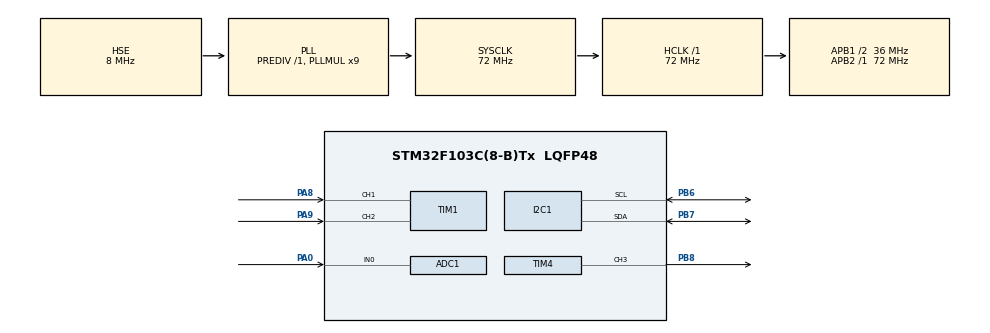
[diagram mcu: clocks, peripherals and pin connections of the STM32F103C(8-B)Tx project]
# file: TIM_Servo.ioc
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ADC1.Channel-0\#ChannelRegularConversion=ADC_CHANNEL_0
ADC1.NbrOfConversionFlag=1
ADC1.Rank-0\#ChannelRegularConversion=1
ADC1.SamplingTime-0\#ChannelRegularConversion=ADC_SAMPLETIME_1CYCLE_5
ADC1.master=1
Mcu.Family=STM32F1
Mcu.Name=STM32F103C(8-B)Tx
Mcu.Package=LQFP48
NVIC.PriorityGroup=NVIC_PRIORITYGROUP_4
PA0-WKUP.Signal=ADCx_IN0
PA13.Mode=Serial_Wire
PA13.Signal=SYS_JTMS-SWDIO
PA14.Mode=Serial_Wire
PA14.Signal=SYS_JTCK-SWCLK
PA8.Signal=S_TIM1_CH1
PA9.Signal=S_TIM1_CH2
PB6.Mode=I2C
PB6.Signal=I2C1_SCL
PB7.Mode=I2C
PB7.Signal=I2C1_SDA
PB8.Signal=S_TIM4_CH3
PD0-OSC_IN.Mode=HSE-External-Oscillator
PD0-OSC_IN.Signal=RCC_OSC_IN
PD1-OSC_OUT.Mode=HSE-External-Oscillator
PD1-OSC_OUT.Signal=RCC_OSC_OUT
ProjectManager.HeapSize=0x200
ProjectManager.StackSize=0x400
ProjectManager.TargetToolchain=CMake
RCC.ADCPresc=RCC_ADCPCLK2_DIV6
RCC.AHBFreq_Value=72000000
RCC.APB1CLKDivider=RCC_HCLK_DIV2
RCC.APB1Freq_Value=36000000
RCC.APB1TimFreq_Value=72000000
RCC.APB2Freq_Value=72000000
RCC.APB2TimFreq_Value=72000000
RCC.HCLKFreq_Value=72000000
RCC.PLLMUL=RCC_PLL_MUL9
RCC.PLLSourceVirtual=RCC_PLLSOURCE_HSE
RCC.SYSCLKFreq_VALUE=72000000
RCC.SYSCLKSource=RCC_SYSCLKSOURCE_PLLCLK
RCC.USBFreq_Value=72000000
SH.ADCx_IN0.0=ADC1_IN0,IN0
SH.S_TIM1_CH1.0=TIM1_CH1,Encoder_Interface
SH.S_TIM1_CH2.0=TIM1_CH2,Encoder_Interface
SH.S_TIM4_CH3.0=TIM4_CH3,PWM Generation3 CH3
TIM4.Channel-PWM\ Generation3\ CH3=TIM_CHANNEL_3
TIM4.Period=2000-1
TIM4.Prescaler=720-1
VP_TIM4_VS_ClockSourceINT.Mode=Internal
board=custom

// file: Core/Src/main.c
/* USER CODE BEGIN Header */
/**
  ******************************************************************************
  * @file           : main.c
  * @brief          : Main program body
  ******************************************************************************
  * @attention
  *
  * Copyright (c) 2026 STMicroelectronics.
  * All rights reserved.
  *
  * This software is licensed under terms that can be found in the LICENSE file
  * in the root directory of this software component.
  * If no LICENSE file comes with this software, it is provided AS-IS.
  *
  ******************************************************************************
  */
/* USER CODE END Header */
#include "main.h"
#include "adc.h"
#include "i2c.h"
#include "tim.h"
#include "gpio.h"

/* USER CODE BEGIN Includes */
#include <stdio.h>
#include "oled.h"
#include "font.h"
/* USER CODE END Includes */

/* USER CODE BEGIN PD */
/* ---------------------------------------------------------------
 * TIM4: 72MHz / 720 = 100kHz，一个计数 = 10us
 *       Period = 2000-1 → 2000 x 10us = 20ms = 50Hz（舵机的标准周期）
 *
 * 脉宽与角度（以 SG90 为例，标称 1.0ms = 0 度，2.0ms = 180 度）：
 *       CCR = 100 → 1.0ms →   0 度
 *       CCR = 150 → 1.5ms →  90 度（中位）
 *       CCR = 200 → 2.0ms → 180 度
 * 先用这个安全范围测试。如果发现转不到头，再把 MIN/MAX 放宽到
 * 50/250（0.5ms / 2.5ms）——但别一上来就用 0.5~2.5ms，
 * 很多舵机会顶到机械限位堵转、发热甚至烧掉。
 * --------------------------------------------------------------- */
#define SERVO_MIN_CCR      100U   /* 对应   0 度 / 1.0ms */
#define SERVO_MAX_CCR      200U   /* 对应 180 度 / 2.0ms */

/* ---------- 电位器 -> 舵机 ---------- */
#define ADC_AVG_N          8U     /* 每次读 8 次 ADC 取平均，压掉抖动 */
#define CTRL_PERIOD_MS     20U    /* 每 20ms 采一次、更新一次 CCR */
#define UI_PERIOD_MS       150U   /* 屏幕 150ms 刷一次：整屏 I2C 传输约 95ms */
#define DEADBAND_PCT       1U     /* 变化小于 1% 就不动，避免舵机原地嗡嗡抖 */
/* USER CODE END PD */

/* USER CODE BEGIN PV */
static uint8_t  last_pct     = 50U;    /* 上次的旋钮百分比，初值取中位 */
static uint16_t last_ccr     = 0U;     /* 当前输出的 CCR */
static uint32_t ctrl_tick    = 0U;     /* 上次采样的时刻 */
static uint32_t ui_last_tick = 0U;     /* 上次刷屏的时刻 */
/* USER CODE END PV */

void SystemClock_Config(void);

/* USER CODE BEGIN 0 */

/**
 * @brief  连续读 ADC_AVG_N 次取平均
 * @note   单次读数有 ±2~3 个字的抖动，直接拿去算角度，舵机会在原地小幅抽动。
 */
static uint16_t adc_read_avg(void)
{
  uint32_t sum = 0U;
  uint8_t  i;

  for (i = 0U; i < ADC_AVG_N; i++)
  {
    HAL_ADC_Start(&hadc1);
    if (HAL_ADC_PollForConversion(&hadc1, 10U) == HAL_OK)
    {
      sum += HAL_ADC_GetValue(&hadc1);
    }
    HAL_ADC_Stop(&hadc1);
  }

  return (uint16_t)(sum / ADC_AVG_N);
}

/**
 * @brief  原始值 0~4095 换算成百分比 0~100
 */
static uint8_t adc_to_pct(uint16_t raw)
{
  uint32_t pct = (uint32_t)raw * 100U / 4095U;

  if (pct > 100U)
  {
    pct = 100U;
  }
  return (uint8_t)pct;
}

/**
 * @brief  百分比 0~100 换算成 CCR 100~200（即 1.0ms ~ 2.0ms）
 * @note   CCR 差正好 100，所以 CCR = 100 + pct，不用做除法
 */
static uint16_t pct_to_ccr(uint8_t pct)
{
  return (uint16_t)(SERVO_MIN_CCR +
                    ((uint16_t)pct * (SERVO_MAX_CCR - SERVO_MIN_CCR)) / 100U);
}

/**
 * @brief  百分比 0~100 换算成角度 0~180
 */
static uint16_t pct_to_deg(uint8_t pct)
{
  return (uint16_t)(((uint16_t)pct * 180U) / 100U);
}

/**
 * @brief  画一屏：标题 / 大号角度 / 进度条 / ADC 与 CCR
 */
static void ui_draw(uint16_t deg, uint8_t pct, uint16_t ccr, uint16_t raw)
{
  char    buf[20];
  uint8_t bar_w;

  OLED_NewFrame();

  /* 第 1 行：标题（12x6 字体） */
  OLED_PrintASCIIString(0, 0, "KNOB -> SERVO", &afont12x6, OLED_COLOR_NORMAL);

  /* 第 2 行：大号角度（24x12 字体，一个字符 12 像素宽），右边补单位 */
  sprintf(buf, "%3u", (unsigned)deg);
  OLED_PrintASCIIString(2, 13, buf, &afont24x12, OLED_COLOR_NORMAL);
  OLED_PrintASCIIString(44, 20, "deg", &afont12x6, OLED_COLOR_NORMAL);

  /* 第 3 行：进度条，外框 126x10，内部按旋钮百分比填充 */
  OLED_DrawRectangle(0, 39, 126, 10, OLED_COLOR_NORMAL);
  bar_w = (uint8_t)((uint16_t)pct * 122U / 100U);
  if (bar_w > 0U)
  {
    OLED_DrawFilledRectangle(2, 41, bar_w, 6, OLED_COLOR_NORMAL);
  }

  /* 第 4 行：ADC 原始值 + 当前 CCR（8x6 字体） */
  sprintf(buf, "ADC%4u PWM%3u", (unsigned)raw, (unsigned)ccr);
  OLED_PrintASCIIString(0, 53, buf, &afont8x6, OLED_COLOR_NORMAL);

  OLED_ShowFrame();
}

/**
 * @brief  一次完整的「采样 -> 换算 -> 驱动舵机 -> 刷新屏幕」
 * @note   屏幕 150ms 才刷一次：整屏 1024 字节走 100kHz I2C 约 95ms，
 *         如果每 20ms 都刷，主循环会被 I2C 完全堵住，舵机就卡成一段一段的。
 */
static void control_task(void)
{
  uint16_t raw = adc_read_avg();
  uint8_t  pct = adc_to_pct(raw);
  uint8_t  diff;

  /* 旋钮几乎没动（差值 < DEADBAND_PCT）就不改 CCR，
     否则 ADC 的最后一位在抖，舵机会一直听到新脉宽、原地嗡嗡响 */
  diff = (pct > last_pct) ? (uint8_t)(pct - last_pct)
                          : (uint8_t)(last_pct - pct);

  if (diff >= DEADBAND_PCT)
  {
    last_pct = pct;
    last_ccr = pct_to_ccr(pct);
    __HAL_TIM_SET_COMPARE(&htim4, TIM_CHANNEL_3, last_ccr);
  }

  if ((HAL_GetTick() - ui_last_tick) >= UI_PERIOD_MS)
  {
    ui_last_tick = HAL_GetTick();
    ui_draw(pct_to_deg(last_pct), last_pct, last_ccr, raw);
  }
}

/* USER CODE END 0 */

int main(void)
{

  /* MCU Configuration--------------------------------------------------------*/

  /* Reset of all peripherals, Initializes the Flash interface and the Systick. */
  HAL_Init();

  /* Configure the system clock */
  SystemClock_Config();

  /* Initialize all configured peripherals */
  MX_GPIO_Init();
  MX_ADC1_Init();
  MX_I2C1_Init();
  MX_TIM1_Init();
  MX_TIM4_Init();
  /* USER CODE BEGIN 2 */
  /* OLED 上电比 MCU 慢，先等 20ms 再初始化，否则第一批指令会丢 */
  HAL_Delay(20);
  OLED_Init();

  /* 先把 CCR 设到中位（90 度）再启动 PWM，
     否则会先输出一个 CCR=0 的"无脉冲"，某些舵机会抖一下 */
  last_ccr = pct_to_ccr(last_pct);
  __HAL_TIM_SET_COMPARE(&htim4, TIM_CHANNEL_3, last_ccr);
  HAL_TIM_PWM_Start(&htim4, TIM_CHANNEL_3);

  /* 把"上次刷屏时刻"设成刚好过期，让第一帧立刻画出来（无符号减法会自动回绕） */
  ui_last_tick = HAL_GetTick() - UI_PERIOD_MS;
  control_task();
  ctrl_tick = HAL_GetTick();
  /* USER CODE END 2 */

  /* Infinite loop */
  while (1)
  {

    /* USER CODE BEGIN 3 */
    /* 每 20ms 跟着旋钮更新一次。不用 HAL_Delay，主循环保持可响应。 */
    if ((HAL_GetTick() - ctrl_tick) >= CTRL_PERIOD_MS)
    {
      ctrl_tick = HAL_GetTick();
      control_task();
    }
  }
  /* USER CODE END 3 */
}

void SystemClock_Config(void)
{
  RCC_OscInitTypeDef RCC_OscInitStruct = {0};
  RCC_ClkInitTypeDef RCC_ClkInitStruct = {0};
  RCC_PeriphCLKInitTypeDef PeriphClkInit = {0};

  /** Initializes the RCC Oscillators according to the specified parameters
  * in the RCC_OscInitTypeDef structure.
  */
  RCC_OscInitStruct.OscillatorType = RCC_OSCILLATORTYPE_HSE;
  RCC_OscInitStruct.HSEState = RCC_HSE_ON;
  RCC_OscInitStruct.HSEPredivValue = RCC_HSE_PREDIV_DIV1;
  RCC_OscInitStruct.HSIState = RCC_HSI_ON;
  RCC_OscInitStruct.PLL.PLLState = RCC_PLL_ON;
  RCC_OscInitStruct.PLL.PLLSource = RCC_PLLSOURCE_HSE;
  RCC_OscInitStruct.PLL.PLLMUL = RCC_PLL_MUL9;
  if (HAL_RCC_OscConfig(&RCC_OscInitStruct) != HAL_OK)
  {
    Error_Handler();
  }

  /** Initializes the CPU, AHB and APB buses clocks
  */
  RCC_ClkInitStruct.ClockType = RCC_CLOCKTYPE_HCLK|RCC_CLOCKTYPE_SYSCLK
                              |RCC_CLOCKTYPE_PCLK1|RCC_CLOCKTYPE_PCLK2;
  RCC_ClkInitStruct.SYSCLKSource = RCC_SYSCLKSOURCE_PLLCLK;
  RCC_ClkInitStruct.AHBCLKDivider = RCC_SYSCLK_DIV1;
  RCC_ClkInitStruct.APB1CLKDivider = RCC_HCLK_DIV2;
  RCC_ClkInitStruct.APB2CLKDivider = RCC_HCLK_DIV1;

  if (HAL_RCC_ClockConfig(&RCC_ClkInitStruct, FLASH_LATENCY_2) != HAL_OK)
  {
    Error_Handler();
  }
  PeriphClkInit.PeriphClockSelection = RCC_PERIPHCLK_ADC;
  PeriphClkInit.AdcClockSelection = RCC_ADCPCLK2_DIV6;
  if (HAL_RCCEx_PeriphCLKConfig(&PeriphClkInit) != HAL_OK)
  {
    Error_Handler();
  }
}

void Error_Handler(void)
{
  __disable_irq();
  while (1)
  {
  }
}
